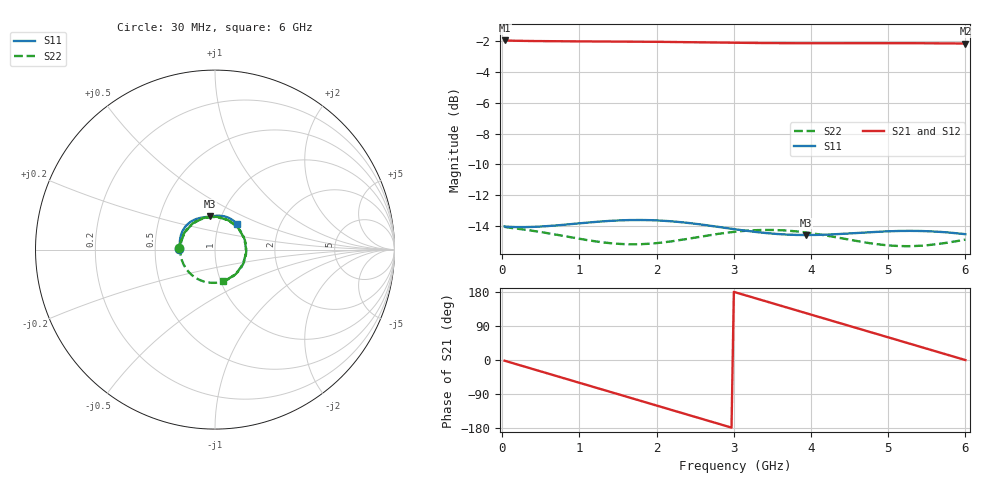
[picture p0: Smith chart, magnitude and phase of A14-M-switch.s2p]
! yapnr Order 0 O0-M: O0-M A14 SHUNT 100R (switch, family M)
! stackup OSHPARK-4L-EM528, nominal parameters; geometry of the OSHPARK-4L-FR408HR design
! model: 2D quasi-static RLGC (Djordjevic-Sarkar, Huray roughness, Wheeler loss); generated by python -m yapnr.rf.coupons expected --stackup OSHPARK-4L-FR408HR --upload M
! reference planes 10 mm from each end; 50 ohm (from the M line's Zc)
# GHz S DB R 50
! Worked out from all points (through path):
!   200 points, 30 MHz to 6 GHz, reference 50 ohm
!   highest |S21| = -1.95 dB at 30 MHz (marker M1); lowest = -2.2 dB at 6 GHz (marker M2)
!   group delay of S21, straight-line fit = 167 ps
!   lowest |S11| = -14.6 dB at 3.93 GHz (marker M3), VSWR 1.46, Z = 44.4 + j17 ohm
!   |S11| at or under -10 dB: start of sweep to end of sweep
!   |S22| runs from -15.3 to -14.0 dB; largest |S21 - S12| = 0
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0.03  -14.02 179.3  -1.95 -1.9  -1.95 -1.9  -14.05 176.8
0.27  -14.06 175.1  -1.98 -16.4  -1.98 -16.4  -14.21 153.2
0.51  -14.02 170.9  -2.00 -30.7  -2.00 -30.7  -14.39 129.6
0.78  -13.92 165.9  -2.00 -46.9  -2.00 -46.9  -14.62 102.5
1.05  -13.79 160.5  -2.01 -63.1  -2.01 -63.1  -14.87 74.8
1.29  -13.69 155.2  -2.02 -77.5  -2.02 -77.5  -15.04 49.6
1.53  -13.62 149.7  -2.02 -92.0  -2.02 -92.0  -15.15 23.9
1.77  -13.60 143.9  -2.03 -106.4  -2.03 -106.4  -15.17 -2.0
2.04  -13.64 137.3  -2.04 -122.7  -2.04 -122.7  -15.08 -31.0
2.55  -13.88 125.2  -2.07 -153.3  -2.07 -153.3  -14.70 -84.2
2.79  -14.04 119.9  -2.09 -167.7  -2.09 -167.7  -14.51 -108.2
3.03  -14.21 114.9  -2.10 178.0  -2.10 178.0  -14.36 -131.8
3.45  -14.46 106.8  -2.12 152.9  -2.12 152.9  -14.25 -172.3
3.93  -14.58 98.1  -2.13 124.2  -2.13 124.2  -14.41 141.4
4.02  -14.57 96.4  -2.13 118.8  -2.13 118.8  -14.47 132.6
4.29  -14.53 91.2  -2.13 102.6  -2.13 102.6  -14.69 105.7
4.53  -14.46 86.2  -2.13 88.3  -2.13 88.3  -14.91 81.2
4.77  -14.39 80.8  -2.13 73.8  -2.13 73.8  -15.11 55.9
5.01  -14.33 75.1  -2.13 59.4  -2.13 59.4  -15.25 30.1
5.52  -14.33 62.1  -2.13 28.7  -2.13 28.7  -15.23 -25.4
5.76  -14.40 55.9  -2.14 14.3  -2.14 14.3  -15.08 -51.1
6  -14.52 49.7  -2.15 -0.2  -2.15 -0.2  -14.88 -76.2
